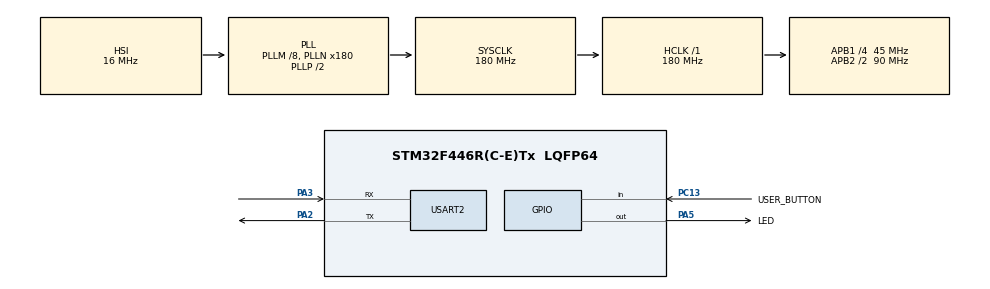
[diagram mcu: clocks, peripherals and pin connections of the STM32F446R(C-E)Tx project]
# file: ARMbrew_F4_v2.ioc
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Mcu.Family=STM32F4
Mcu.Name=STM32F446R(C-E)Tx
Mcu.Package=LQFP64
NVIC.PriorityGroup=NVIC_PRIORITYGROUP_4
NVIC.TIM6_DAC_IRQn=true\:0\:0\:false\:false\:true
PA13.Mode=Trace-Asynchronous_SW
PA13.Signal=SYS_JTMS-SWDIO
PA14.Mode=Trace-Asynchronous_SW
PA14.Signal=SYS_JTCK-SWCLK
PA2.Mode=Asynchronous
PA2.Signal=USART2_TX
PA3.Mode=Asynchronous
PA3.Signal=USART2_RX
PA5.GPIO_Label=LED
PA5.Signal=GPIO_Output
PB3.Mode=Trace-Asynchronous_SW
PB3.Signal=SYS_JTDO-SWO
PC13.GPIO_Label=USER_BUTTON
PC13.Signal=GPIO_Input
PH0-OSC_IN.Mode=HSE-External-Oscillator
PH0-OSC_IN.Signal=RCC_OSC_IN
PH1-OSC_OUT.Mode=HSE-External-Oscillator
PH1-OSC_OUT.Signal=RCC_OSC_OUT
ProjectManager.HeapSize=0x400
ProjectManager.StackSize=0x200
ProjectManager.TargetToolchain=TrueSTUDIO
RCC.AHBFreq_Value=180000000
RCC.APB1CLKDivider=RCC_HCLK_DIV4
RCC.APB1Freq_Value=45000000
RCC.APB1TimFreq_Value=90000000
RCC.APB2CLKDivider=RCC_HCLK_DIV2
RCC.APB2Freq_Value=90000000
RCC.APB2TimFreq_Value=180000000
RCC.CortexFreq_Value=180000000
RCC.HCLKFreq_Value=180000000
RCC.HSE_VALUE=8000000
RCC.PLLM=8
RCC.PLLN=180
RCC.PLLQ=8
RCC.PLLSAIM=8
RCC.PLLSAIP=RCC_PLLSAIP_DIV4
RCC.SYSCLKFreq_VALUE=180000000
RCC.SYSCLKSource=RCC_SYSCLKSOURCE_PLLCLK
RCC.USBCLockSelection=RCC_CK48CLKSOURCE_PLLSAIP
RCC.USBFreq_Value=96000000
RCC.VCOOutputFreq_Value=360000000
TIM6.Period=45000
TIM6.Prescaler=2
VP_TIM6_VS_ClockSourceINT.Mode=Enable_Timer
board=ARMbrew_F4_v2

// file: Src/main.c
/**
  ******************************************************************************
  * File Name          : main.c
  * Description        : Main program body
  ******************************************************************************
  *
  * COPYRIGHT(c) 2016 STMicroelectronics
  *
  * Redistribution and use in source and binary forms, with or without modification,
  * are permitted provided that the following conditions are met:
  *   1. Redistributions of source code must retain the above copyright notice,
  *      this list of conditions and the following disclaimer.
  *   2. Redistributions in binary form must reproduce the above copyright notice,
  *      this list of conditions and the following disclaimer in the documentation
  *      and/or other materials provided with the distribution.
  *   3. Neither the name of STMicroelectronics nor the names of its contributors
  *      may be used to endorse or promote products derived from this software
  *      without specific prior written permission.
  *
  * THIS SOFTWARE IS PROVIDED BY THE COPYRIGHT HOLDERS AND CONTRIBUTORS "AS IS"
  * AND ANY EXPRESS OR IMPLIED WARRANTIES, INCLUDING, BUT NOT LIMITED TO, THE
  * IMPLIED WARRANTIES OF MERCHANTABILITY AND FITNESS FOR A PARTICULAR PURPOSE ARE
  * DISCLAIMED. IN NO EVENT SHALL THE COPYRIGHT HOLDER OR CONTRIBUTORS BE LIABLE
  * FOR ANY DIRECT, INDIRECT, INCIDENTAL, SPECIAL, EXEMPLARY, OR CONSEQUENTIAL
  * DAMAGES (INCLUDING, BUT NOT LIMITED TO, PROCUREMENT OF SUBSTITUTE GOODS OR
  * SERVICES; LOSS OF USE, DATA, OR PROFITS; OR BUSINESS INTERRUPTION) HOWEVER
  * CAUSED AND ON ANY THEORY OF LIABILITY, WHETHER IN CONTRACT, STRICT LIABILITY,
  * OR TORT (INCLUDING NEGLIGENCE OR OTHERWISE) ARISING IN ANY WAY OUT OF THE USE
  * OF THIS SOFTWARE, EVEN IF ADVISED OF THE POSSIBILITY OF SUCH DAMAGE.
  *
  ******************************************************************************
  */
#include "stm32f4xx_hal.h"

/* USER CODE BEGIN Includes */
#include "strings.h"
#include "tm_stm32f4_hd44780.h" 	//LCD Screen
#include "tm_stm32f4_onewire.h"		//One Wire library
#include "tm_stm32f4_ds18b20.h"		//DS18B20 library
/* USER CODE END Includes */

TIM_HandleTypeDef htim6;

UART_HandleTypeDef huart2;

/* USER CODE BEGIN PV */
/* Private variables ---------------------------------------------------------*/

/* USER CODE END PV */

void SystemClock_Config(void);
static void MX_GPIO_Init(void);
static void MX_TIM6_Init(void);
static void MX_USART2_UART_Init(void);

/* USER CODE BEGIN PFP */
/* Private function prototypes -----------------------------------------------*/

/* USER CODE END PFP */

int main(void)
{

  /* USER CODE BEGIN 1 */
	//String for printing stuff
		char test[255]="TEST3 ";
		//One-Wire Variables

	    uint8_t devices, i, j, count, alarm_count;
	    uint8_t device[2][8];
	    uint8_t alarm_device[2][8];
	    float temps[1];
	    /* OneWire working struct */
	        TM_OneWire_t OneWire1;

		uint8_t degreeSignChar[] = {
			0b00110,		// xxx 00110
			0b01001,		// xxx 01001
			0b01001,		// xxx 01001
			0b00110,		// xxx 00110
			0b00000,		// xxx 00000
			0b00000,		// xxx 00000
			0b00000,		// xxx 00000
			0b00000			// xxx 00000
		};
  /* USER CODE END 1 */

  /* MCU Configuration----------------------------------------------------------*/

  /* Reset of all peripherals, Initializes the Flash interface and the Systick. */
  HAL_Init();

  /* Configure the system clock */
  SystemClock_Config();

  /* Initialize all configured peripherals */
  MX_GPIO_Init();
  MX_TIM6_Init();
  MX_USART2_UART_Init();

  /* USER CODE BEGIN 2 */

  //TM_DELAY_Init();

  HAL_TIM_Base_Start_IT(&htim6);

  //Init 4x20 LCD
  TM_HD44780_Init(20,4);
  TM_HD44780_CreateChar(0, &degreeSignChar[0]);

  //Print String on LCD
  sprintf(test,"TEMP1: INIT  C\n");
  TM_HD44780_Puts(0, 0, test);
  //Put the degree Sign
  TM_HD44780_PutCustom(12,0,0);

  //Print Test String on UART2
  sprintf(test,"\n\rthis is a test\n\r");
  HAL_UART_Transmit(&huart2,test,strlen(test),200);

  TM_OneWire_Init(&OneWire1, GPIOC, GPIO_PIN_11);

  /* Checks for any device on 1-wire */
      count = 0;
      devices = TM_OneWire_First(&OneWire1);
      TM_OneWire_GetFullROM(&OneWire1, device[0]);

      /* If any devices on 1wire */
     sprintf(test,"Devices found on 1-wire: %d\n\r");
     HAL_UART_Transmit(&huart2,test,strlen(test),200);
     /* Display 64bit rom code for each device */
     for (j = 0; j < count; j++) {
              for (i = 0; i < 8; i++) {
                  sprintf(test, "0x%02X ", device[j][i]);
                  HAL_UART_Transmit(&huart2,test,strlen(test),200);
              }
              sprintf(test,"\n\r");
              HAL_UART_Transmit(&huart2,test,strlen(test),200);
      }

      /* Set resolution to 12bits */
      TM_DS18B20_SetResolution(&OneWire1, device[0], TM_DS18B20_Resolution_12bits);

      /* Disable alarm temperatures on device number 1 */
      TM_DS18B20_DisableAlarmTemperature(&OneWire1, device[0]);

  /* USER CODE END 2 */

  /* Infinite loop */
  /* USER CODE BEGIN WHILE */
  while (1)
  {

      TM_DS18B20_StartAll(&OneWire1);

       /* Wait until all are done on one onewire port */
       while (!TM_DS18B20_AllDone(&OneWire1));

       /* Read temperature from each device separatelly */
           /* Read temperature from ROM address and store it to temps variable */
           if (TM_DS18B20_Read(&OneWire1, device[0], &temps[0])) {
               /* Print temperature */
               sprintf(test, "Temp %d: %3.5f; \n\r", i, temps[0]);
               HAL_UART_Transmit(&huart2,test,strlen(test),200);
               sprintf(test,"%2.2f",temps[0]);
               TM_HD44780_Puts(7, 0, test);
           } else {
               /* Reading error */
               sprintf(test, "Reading error;\n\r");
               HAL_UART_Transmit(&huart2,test,strlen(test),200);
               sprintf(test,"TEMP1: ERROR");
               TM_HD44780_Puts(7, 0, test);
           }

		//1 Second Delay
		HAL_Delay(1000000);

  /* USER CODE END WHILE */

  }

}

/** System Clock Configuration
*/
void SystemClock_Config(void)
{

  RCC_OscInitTypeDef RCC_OscInitStruct;
  RCC_ClkInitTypeDef RCC_ClkInitStruct;

  __HAL_RCC_PWR_CLK_ENABLE();

  __HAL_PWR_VOLTAGESCALING_CONFIG(PWR_REGULATOR_VOLTAGE_SCALE1);

  RCC_OscInitStruct.OscillatorType = RCC_OSCILLATORTYPE_HSI;
  RCC_OscInitStruct.HSIState = RCC_HSI_ON;
  RCC_OscInitStruct.HSICalibrationValue = 16;
  RCC_OscInitStruct.PLL.PLLState = RCC_PLL_ON;
  RCC_OscInitStruct.PLL.PLLSource = RCC_PLLSOURCE_HSI;
  RCC_OscInitStruct.PLL.PLLM = 8;
  RCC_OscInitStruct.PLL.PLLN = 180;
  RCC_OscInitStruct.PLL.PLLP = RCC_PLLP_DIV2;
  RCC_OscInitStruct.PLL.PLLQ = 8;
  RCC_OscInitStruct.PLL.PLLR = 2;
  HAL_RCC_OscConfig(&RCC_OscInitStruct);

  HAL_PWREx_EnableOverDrive();

  RCC_ClkInitStruct.ClockType = RCC_CLOCKTYPE_HCLK|RCC_CLOCKTYPE_SYSCLK
                              |RCC_CLOCKTYPE_PCLK1|RCC_CLOCKTYPE_PCLK2;
  RCC_ClkInitStruct.SYSCLKSource = RCC_SYSCLKSOURCE_PLLCLK;
  RCC_ClkInitStruct.AHBCLKDivider = RCC_SYSCLK_DIV1;
  RCC_ClkInitStruct.APB1CLKDivider = RCC_HCLK_DIV4;
  RCC_ClkInitStruct.APB2CLKDivider = RCC_HCLK_DIV2;
  HAL_RCC_ClockConfig(&RCC_ClkInitStruct, FLASH_LATENCY_5);

  HAL_SYSTICK_Config(HAL_RCC_GetHCLKFreq()/1000000);

  HAL_SYSTICK_CLKSourceConfig(SYSTICK_CLKSOURCE_HCLK);

  /* SysTick_IRQn interrupt configuration */
  HAL_NVIC_SetPriority(SysTick_IRQn, 0, 0);
}

/* TIM6 init function */
void MX_TIM6_Init(void)
{

  TIM_MasterConfigTypeDef sMasterConfig;

  htim6.Instance = TIM6;
  htim6.Init.Prescaler = 2;
  htim6.Init.CounterMode = TIM_COUNTERMODE_UP;
  htim6.Init.Period = 45000;
  HAL_TIM_Base_Init(&htim6);

  sMasterConfig.MasterOutputTrigger = TIM_TRGO_RESET;
  sMasterConfig.MasterSlaveMode = TIM_MASTERSLAVEMODE_DISABLE;
  HAL_TIMEx_MasterConfigSynchronization(&htim6, &sMasterConfig);

}

/* USART2 init function */
void MX_USART2_UART_Init(void)
{

  huart2.Instance = USART2;
  huart2.Init.BaudRate = 115200;
  huart2.Init.WordLength = UART_WORDLENGTH_8B;
  huart2.Init.StopBits = UART_STOPBITS_1;
  huart2.Init.Parity = UART_PARITY_NONE;
  huart2.Init.Mode = UART_MODE_TX_RX;
  huart2.Init.HwFlowCtl = UART_HWCONTROL_NONE;
  huart2.Init.OverSampling = UART_OVERSAMPLING_16;
  HAL_UART_Init(&huart2);

}

/** Configure pins as
        * Analog
        * Input
        * Output
        * EVENT_OUT
        * EXTI
*/
void MX_GPIO_Init(void)
{

  GPIO_InitTypeDef GPIO_InitStruct;

  /* GPIO Ports Clock Enable */
  __HAL_RCC_GPIOC_CLK_ENABLE();
  __HAL_RCC_GPIOH_CLK_ENABLE();
  __HAL_RCC_GPIOA_CLK_ENABLE();
  __HAL_RCC_GPIOB_CLK_ENABLE();

  /*Configure GPIO pin : USER_BUTTON_Pin */
  GPIO_InitStruct.Pin = USER_BUTTON_Pin;
  GPIO_InitStruct.Mode = GPIO_MODE_INPUT;
  GPIO_InitStruct.Pull = GPIO_NOPULL;
  HAL_GPIO_Init(USER_BUTTON_GPIO_Port, &GPIO_InitStruct);

  /*Configure GPIO pin : LED_Pin */
  GPIO_InitStruct.Pin = LED_Pin;
  GPIO_InitStruct.Mode = GPIO_MODE_OUTPUT_PP;
  GPIO_InitStruct.Pull = GPIO_NOPULL;
  GPIO_InitStruct.Speed = GPIO_SPEED_FREQ_LOW;
  HAL_GPIO_Init(LED_GPIO_Port, &GPIO_InitStruct);

  /*Configure GPIO pin Output Level */
  HAL_GPIO_WritePin(LED_GPIO_Port, LED_Pin, GPIO_PIN_RESET);

}

/************************ (C) COPYRIGHT STMicroelectronics *****END OF FILE****/
